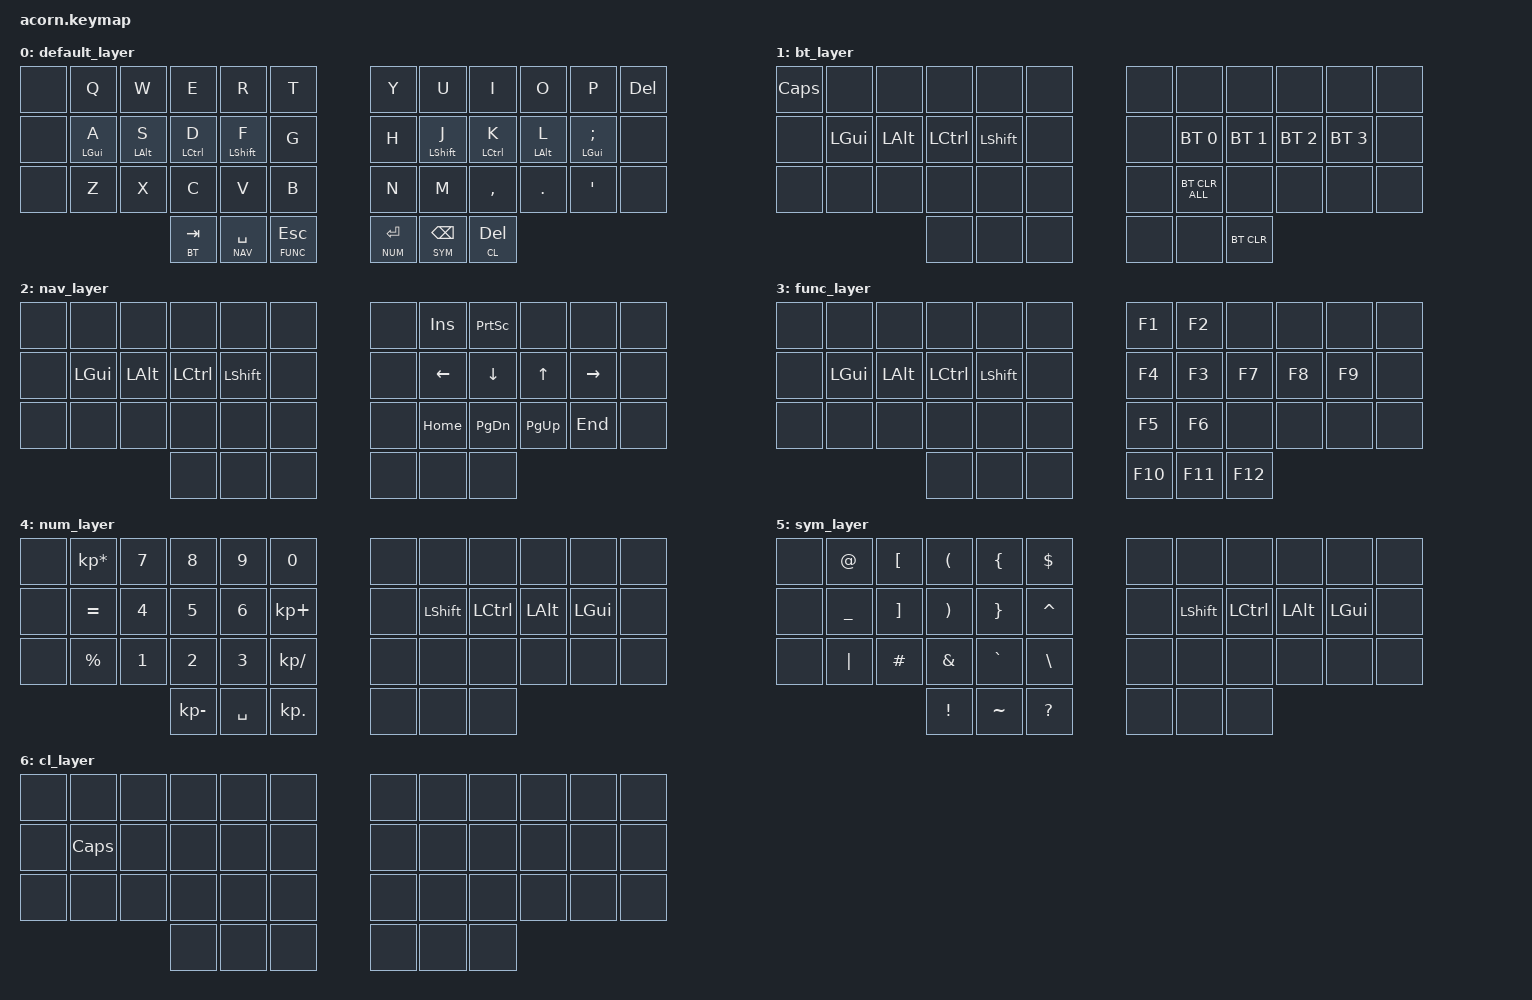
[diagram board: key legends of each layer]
/*
 * Copyright (c) 2020 The ZMK Contributors
 *
 * SPDX-License-Identifier: MIT
 */

#include <behaviors.dtsi>
#include <dt-bindings/zmk/bt.h>
#include <dt-bindings/zmk/keys.h>
#include <dt-bindings/zmk/outputs.h>

// LAYERS
#define DEF 0
#define BT 1
#define NAV 2
#define FUNC 3
#define NUM 4
#define SYM 5
#define CL 6

&lt {
  flavor = "tap-preferred";
  tapping-term-ms = <200>;
  quick-tap-ms = <0>;
};

&mt {
  flavor = "tap-preferred";
  tapping_term_ms = <200>;
  quick-tap-ms = <0>;
 };

/ {

        keymap {
                compatible = "zmk,keymap";

                default_layer {
// -----------------------------------------------------------------------------------------
// default layer
//
                        bindings = <
   &none &kp Q      &kp W      &kp E       &kp R       &kp T          &kp Y &kp U       &kp I       &kp O      &kp P         &kp DEL
   &none &mt LGUI A &mt LALT S &mt LCTRL D &mt LSHFT F &kp G          &kp H &mt LSHFT J &mt LCTRL K &mt LALT L &mt LGUI SEMI &none
   &none &kp Z      &kp X      &kp C       &kp V       &kp B          &kp N &kp M       &kp COMMA   &kp DOT    &kp SQT       &none
                          &lt BT TAB &lt NAV SPACE &lt FUNC ESC    &lt NUM RET &lt SYM BSPC &lt CL DEL
                        >;
                };

                bt_layer {
// -----------------------------------------------------------------------------------------
// bt layer
//
                        bindings = <
   &kp CAPSLOCK &none    &none    &none     &none     &none              &none &none        &none        &none        &none        &none
   &none &kp LGUI &kp LALT &kp LCTRL &kp LSHFT &none              &none &bt BT_SEL 0 &bt BT_SEL 1 &bt BT_SEL 2 &bt BT_SEL 3 &none
   &none &none    &none    &none     &none     &none              &none &bt BT_CLR_ALL   &none        &none        &none        &none
                                      &none &none &none        &none &none &bt BT_CLR
                        >;
                };

                nav_layer {
// -----------------------------------------------------------------------------------------
// nav layer
//
                        bindings = <
   &none &none    &none    &none     &none     &none              &none    &kp INS     &kp PSCRN     &none     &none &none
   &none &kp LGUI &kp LALT &kp LCTRL &kp LSHFT &none              &none    &kp LEFT &kp DOWN  &kp UP    &kp RIGHT  &none
   &none &none    &none    &none     &none     &none              &none    &kp HOME &kp PG_DN &kp PG_UP &kp END   &none
                                      &none &none &none        &none &none &none
                        >;
                };

                func_layer {
// -----------------------------------------------------------------------------------------
// func layer
//
                        bindings = <
   &none &none    &none    &none     &none     &none              &kp F1 &kp F2 &none  &none  &none  &none
   &none &kp LGUI &kp LALT &kp LCTRL &kp LSHFT &none              &kp F4 &kp F3 &kp F7 &kp F8 &kp F9 &none
   &none &none    &none    &none     &none     &none              &kp F5 &kp F6 &none  &none  &none  &none
                                      &none &none &none        &kp F10 &kp F11 &kp F12
                        >;
                };

                num_layer {
// -----------------------------------------------------------------------------------------
// num layer
//
                        bindings = <
   &none &kp KP_MULTIPLY &kp N7          &kp N8       &kp N9      &kp N0                 &none &none     &none     &none    &none    &none
   &none &kp EQUAL    &kp N4          &kp N5       &kp N6      &kp KP_PLUS            &none &kp LSHFT &kp LCTRL &kp LALT &kp LGUI &none
   &none &kp PRCNT       &kp N1          &kp N2       &kp N3      &kp KP_DIVIDE          &none &none     &none     &none    &none    &none
                                           &kp KP_MINUS &kp SPACE &kp KP_DOT             &none &none &none
                        >;
               };

                sym_layer {
// -----------------------------------------------------------------------------------------
// sym layer
//
                        bindings = <
   &none &kp AT    &kp LBKT &kp LPAR      &kp LBRC  &kp DOLLAR             &none &none     &none     &none    &none    &none
   &none &kp UNDER &kp RBKT &kp RPAR      &kp RBRC  &kp CARET              &none &kp LSHFT &kp LCTRL &kp LALT &kp LGUI &none
   &none &kp PIPE  &kp HASH &kp AMPERSAND &kp GRAVE &kp BACKSLASH          &none &none     &none     &none    &none    &none
                              &kp EXCLAMATION &kp TILDE &kp QUESTION     &none &none &none
                        >;
                };

                cl_layer {
// -----------------------------------------------------------------------------------------
// cl layer
//
                        bindings = <
   &none &none        &none &none &none &none              &none &none &none &none &none &none
   &none &kp CAPSLOCK &none &none &none &none              &none &none &none &none &none &none
   &none &none        &none &none &none &none              &none &none &none &none &none &none
                                &none &none &none        &none &none &none
                        >;
                };

        };
};
